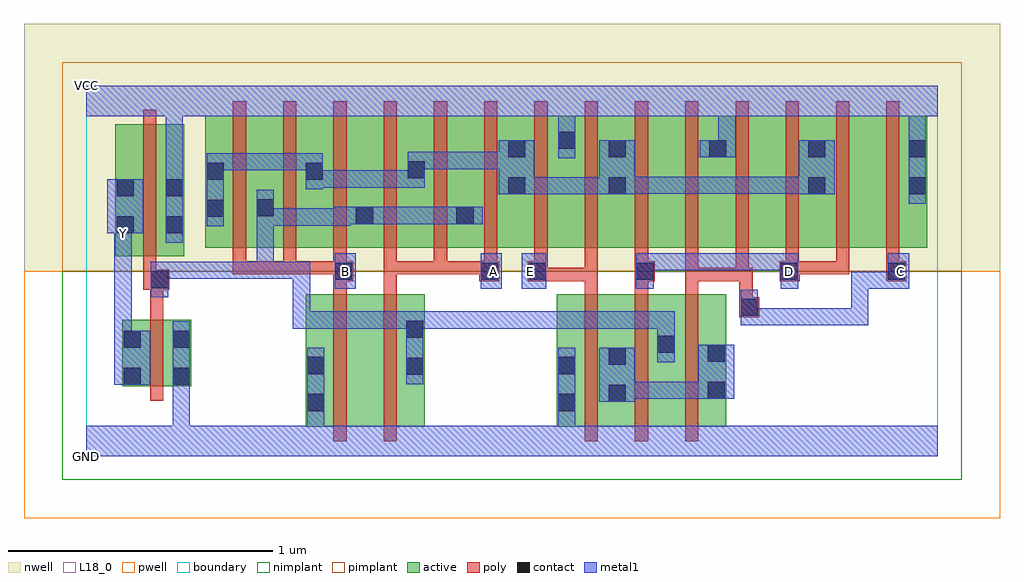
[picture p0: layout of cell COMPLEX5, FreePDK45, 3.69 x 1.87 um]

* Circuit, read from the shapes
.subckt COMPLEX5 A B C D E GND VCC Y
M1 GND n1 Y VSUBS nfet w=0.25u l=0.05u
M2 n2 B GND VSUBS nfet w=0.5u l=0.05u
M3 n1 A n2 VSUBS nfet w=0.5u l=0.05u
M4 n3 E GND VSUBS nfet w=0.5u l=0.05u
M5 n1 D n3 VSUBS nfet w=0.5u l=0.05u
M6 n3 C n1 VSUBS nfet w=0.5u l=0.05u
M7 VCC n1 Y n4 pfet w=0.5u l=0.05u
M8 n1 B n5 n4 pfet w=0.5u l=0.05u m=3
M9 n5 A n1 n4 pfet w=0.5u l=0.05u m=3
M10 VCC E n5 n4 pfet w=0.5u l=0.05u m=2
M11 n6 D n5 n4 pfet w=0.5u l=0.05u
M12 VCC C n6 n4 pfet w=0.5u l=0.05u
M13 n7 C VCC n4 pfet w=0.5u l=0.05u
M14 n5 D n7 n4 pfet w=0.5u l=0.05u
M15 n8 D n5 n4 pfet w=0.5u l=0.05u
M16 VCC C n8 n4 pfet w=0.5u l=0.05u
.ends

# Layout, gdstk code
import gdstk
lib = gdstk.Library(unit=1e-6, precision=1e-09)
def R(c, l, rs):  # rectangles x0, y0, x1, y1
    for r in rs: c.add(gdstk.rectangle(r[:2], r[2:], *l))
def A(c, l, x, y, w, h, nx, ny, dx, dy):  # array of equal rectangles
    R(c, l, [(x+i*dx, y+j*dy, x+i*dx+w, y+j*dy+h) for i in range(nx) for j in range(ny)])
active = (1, 0)
pwell = (2, 0)
nwell = (3, 0)
nimplant = (4, 0)
pimplant = (5, 0)
poly = (9, 0)
contact = (10, 0)
metal1 = (11, 0)
L18_0 = (18, 0)
boundary = (235, 0)

complex5 = lib.new_cell('COMPLEX5')
A(complex5, active, 1.21, 0.807, 0.075, 0.393, 3, 1, 0.38, 0)
R(complex5, active, [(0.83,0.112,1.055,0.612), (1.055,0.112,1.28,0.612), (1.78,0.112,2.045,0.612), (1.97,0.112,2.23,0.612), (2.155,0.112,2.42,0.612), (0.83,0.132,0.905,0.592), (1.205,0.145,1.28,0.612), (1.78,0.145,1.855,0.612), (1.97,0.145,2.045,0.592), (2.155,0.145,2.23,0.592), (2.345,0.145,2.42,0.612), (0.137,0.265,0.212,0.515), (0.137,0.265,0.397,0.515), (0.322,0.265,0.397,0.515), (0.11,0.755,0.37,1.255), (0.11,0.755,0.185,1.2), (0.295,0.755,0.37,1.255), (0.45,0.787,0.715,1.287), (0.45,0.787,0.525,1.2), (0.64,0.787,0.9,1.287), (0.825,0.787,1.09,1.287), (1.015,0.787,1.285,1.287), (1.21,0.787,1.47,1.287), (1.395,0.787,1.665,1.287), (1.59,0.787,1.855,1.287), (1.78,0.787,2.045,1.287), (1.97,0.787,2.195,1.287), (2.195,0.787,2.425,1.287), (2.35,0.787,2.575,1.287), (2.575,0.787,2.8,1.287), (2.725,0.787,2.955,1.287), (2.955,0.787,3.18,1.287), (3.105,0.787,3.18,1.255), (0.64,0.807,0.715,1.07), (0.825,0.807,0.9,1.2), (1.015,0.807,1.09,1.07), (1.395,0.807,1.47,1.07), (1.78,0.807,1.855,1.255), (2.35,0.807,2.425,1.255), (2.725,0.807,2.8,1.2)])
R(complex5, pwell, [(-0.235,-0.235,3.455,0.7)])
R(complex5, nwell, [(-0.235,0.7,3.455,1.635)])
R(complex5, nimplant, [(-0.09,-0.09,3.31,0.7)])
R(complex5, pimplant, [(-0.09,0.7,3.31,1.49)])
A(complex5, poly, 1.885, 0.057, 0.05, 0.61, 3, 1, 0.19, 0)
A(complex5, poly, 1.885, 0.617, 0.05, 0.095, 3, 1, 0.19, 0)
A(complex5, poly, 0.555, 0.687, 0.05, 0.095, 7, 1, 0.19, 0)
A(complex5, poly, 2.645, 0.687, 0.05, 0.095, 3, 1, 0.19, 0)
A(complex5, poly, 0.555, 0.732, 0.05, 0.61, 14, 1, 0.19, 0)
R(complex5, poly, [(0.935,0.057,0.985,0.667), (1.125,0.057,1.175,0.667), (0.242,0.21,0.292,0.57), (0.242,0.52,0.292,0.68), (2.47,0.525,2.545,0.6), (2.47,0.55,2.52,0.6), (2.47,0.55,2.52,0.6), (2.47,0.55,2.52,0.712), (0.935,0.617,0.985,0.712), (1.125,0.617,1.175,0.737), (0.215,0.63,0.315,0.705), (0.215,0.655,0.265,0.75), (0.935,0.662,1.01,0.737), (1.487,0.662,1.562,0.737), (1.67,0.662,1.745,0.737), (1.695,0.662,1.935,0.712), (1.885,0.662,1.935,0.712), (1.885,0.662,1.935,0.712), (1.885,0.662,1.935,0.712), (1.885,0.662,1.935,0.782), (2.075,0.662,2.15,0.737), (2.265,0.662,2.315,0.712), (2.265,0.662,2.315,0.782), (2.265,0.662,2.505,0.712), (2.455,0.662,2.505,0.712), (2.455,0.662,2.505,0.712), (2.455,0.662,2.505,0.782), (2.455,0.662,2.52,0.712), (2.622,0.662,2.697,0.737), (3.025,0.662,3.1,0.737), (0.555,0.687,0.605,0.737), (0.555,0.687,0.795,0.737), (0.745,0.687,0.795,0.737), (0.745,0.687,0.795,0.737), (0.745,0.687,0.795,0.737), (0.745,0.687,0.985,0.737), (0.935,0.687,0.985,0.737), (0.935,0.687,0.985,0.737), (1.125,0.687,1.175,0.737), (1.125,0.687,1.175,0.737), (1.125,0.687,1.175,0.737), (1.125,0.687,1.365,0.737), (1.315,0.687,1.365,0.737), (1.315,0.687,1.365,0.737), (1.315,0.687,1.365,0.737), (1.315,0.687,1.537,0.737), (2.075,0.687,2.125,0.782), (2.647,0.687,2.885,0.737), (2.835,0.687,2.885,0.737), (2.835,0.687,2.885,0.737), (2.835,0.687,2.885,0.737), (0.215,0.7,0.265,1.31)])
A(complex5, contact, 1.595, 1.13, 0.065, 0.065, 3, 1, 0.38, 0)
R(complex5, contact, [(0.835,0.17,0.9,0.235), (1.785,0.17,1.85,0.235), (1.975,0.205,2.04,0.27), (2.35,0.217,2.415,0.282), (0.142,0.27,0.207,0.335), (0.327,0.27,0.392,0.335), (1.21,0.307,1.275,0.372), (0.835,0.31,0.9,0.375), (1.785,0.31,1.85,0.375), (1.975,0.345,2.04,0.41), (2.35,0.357,2.415,0.422), (2.16,0.39,2.225,0.455), (0.142,0.41,0.207,0.475), (0.327,0.41,0.392,0.475), (1.21,0.447,1.275,0.512), (2.475,0.53,2.54,0.595), (0.245,0.635,0.31,0.7), (0.94,0.667,1.005,0.732), (1.492,0.667,1.557,0.732), (1.675,0.667,1.74,0.732), (2.08,0.667,2.145,0.732), (2.627,0.667,2.692,0.732), (3.03,0.667,3.095,0.732), (0.115,0.842,0.18,0.907), (0.3,0.842,0.365,0.907), (1.02,0.877,1.085,0.942), (1.4,0.877,1.465,0.942), (0.455,0.905,0.52,0.97), (0.645,0.907,0.71,0.972), (0.115,0.982,0.18,1.047), (0.3,0.982,0.365,1.047), (1.595,0.99,1.66,1.055), (1.975,0.99,2.04,1.055), (2.73,0.99,2.795,1.055), (3.11,0.99,3.175,1.055), (0.455,1.045,0.52,1.11), (0.83,1.045,0.895,1.11), (1.215,1.05,1.28,1.115), (2.73,1.13,2.795,1.195), (3.11,1.13,3.175,1.195), (1.785,1.162,1.85,1.227)])
R(complex5, metal1, [(0,0,3.22,0.115), (0.327,0.05,0.392,0.3), (0.835,0.05,0.9,0.115), (0.835,0.05,0.9,0.115), (0.835,0.05,0.9,0.2), (1.785,0.05,1.85,0.2), (0.835,0.135,0.9,0.41), (1.785,0.135,1.85,0.41), (1.785,0.135,1.85,0.2), (1.785,0.135,1.85,0.2), (1.94,0.205,2.075,0.41), (2.01,0.217,2.212,0.282), (2.147,0.217,2.212,0.282), (2.147,0.217,2.212,0.282), (2.147,0.217,2.212,0.282), (2.147,0.217,2.38,0.282), (2.315,0.217,2.38,0.282), (2.315,0.217,2.38,0.282), (2.315,0.217,2.45,0.422), (0.327,0.235,0.392,0.51), (0.327,0.235,0.392,0.3), (0.327,0.235,0.392,0.3), (0.327,0.235,0.392,0.3), (0.327,0.235,0.392,0.3), (0.327,0.235,0.392,0.3), (0.327,0.235,0.392,0.3), (0.107,0.27,0.242,0.475), (1.21,0.272,1.275,0.547), (2.16,0.355,2.225,0.49), (0.107,0.41,0.172,0.837), (2.16,0.425,2.225,0.49), (2.16,0.425,2.225,0.547), (0.782,0.482,0.847,0.547), (0.782,0.482,0.847,0.547), (0.782,0.482,0.847,0.547), (0.782,0.482,1.137,0.547), (0.782,0.482,0.847,0.735), (1.072,0.482,1.275,0.547), (1.072,0.482,1.137,0.547), (1.072,0.482,1.137,0.547), (1.072,0.482,1.137,0.547), (1.21,0.482,1.275,0.547), (1.21,0.482,1.275,0.547), (1.21,0.482,1.487,0.547), (1.422,0.482,1.487,0.547), (1.422,0.482,1.487,0.547), (1.422,0.482,1.487,0.547), (1.422,0.482,1.712,0.547), (1.647,0.482,1.712,0.547), (1.647,0.482,1.712,0.547), (1.647,0.482,1.712,0.547), (1.647,0.482,1.867,0.547), (1.802,0.482,1.867,0.547), (1.802,0.482,1.867,0.547), (1.802,0.482,1.867,0.547), (1.802,0.482,2.075,0.547), (2.01,0.482,2.075,0.547), (2.01,0.482,2.225,0.547), (2.475,0.495,2.54,0.56), (2.475,0.495,2.54,0.56), (2.475,0.495,2.54,0.56), (2.475,0.495,2.54,0.56), (2.475,0.495,2.54,0.63), (2.475,0.495,2.677,0.56), (2.612,0.495,2.677,0.56), (2.612,0.495,2.677,0.56), (2.612,0.495,2.677,0.56), (2.612,0.495,2.957,0.56), (2.892,0.495,2.957,0.697), (2.892,0.495,2.957,0.56), (2.892,0.495,2.957,0.56), (2.892,0.495,2.957,0.56), (0.245,0.6,0.31,0.735), (0.94,0.632,1.02,0.767), (1.492,0.632,1.572,0.767), (1.647,0.632,1.74,0.767), (2.08,0.632,2.145,0.767), (2.627,0.632,2.692,0.767), (2.892,0.632,3.095,0.697), (2.892,0.632,2.957,0.697), (3.03,0.632,3.112,0.767), (0.245,0.67,0.31,0.735), (0.245,0.67,0.31,0.735), (0.245,0.67,0.53,0.735), (0.465,0.67,0.53,0.735), (0.465,0.67,0.53,0.735), (0.465,0.67,0.53,0.735), (0.465,0.67,0.71,0.735), (0.645,0.67,0.71,0.735), (0.645,0.67,0.71,0.735), (0.645,0.67,0.71,0.735), (0.645,0.67,0.847,0.735), (0.645,0.67,0.71,0.937), (0.782,0.67,0.847,0.735), (2.08,0.702,2.242,0.767), (2.177,0.702,2.38,0.767), (2.177,0.702,2.242,0.767), (2.315,0.702,2.38,0.767), (2.315,0.702,2.38,0.767), (2.315,0.702,2.38,0.767), (2.315,0.702,2.517,0.767), (2.452,0.702,2.517,0.767), (2.452,0.702,2.517,0.767), (2.452,0.702,2.517,0.767), (2.452,0.702,2.692,0.767), (0.107,0.772,0.172,0.907), (0.3,0.807,0.365,1.082), (0.08,0.842,0.215,1.047), (0.107,0.842,0.172,0.907), (0.455,0.87,0.52,1.145), (0.645,0.872,0.71,0.937), (0.645,0.872,0.71,0.937), (0.645,0.872,0.71,1.007), (0.645,0.872,0.867,0.937), (0.802,0.872,0.867,0.937), (0.802,0.872,1,0.937), (0.935,0.872,1,0.942), (0.935,0.877,1.05,0.942), (0.985,0.877,1.12,0.942), (1.055,0.877,1.137,0.942), (1.072,0.877,1.275,0.942), (1.072,0.877,1.137,0.942), (1.21,0.877,1.275,0.942), (1.21,0.877,1.275,0.942), (1.21,0.877,1.275,0.942), (1.21,0.877,1.43,0.942), (1.365,0.877,1.5,0.942), (3.11,0.955,3.175,1.23), (1.56,0.99,1.695,1.195), (1.63,0.99,1.695,1.055), (1.63,0.99,1.695,1.055), (1.63,0.99,1.695,1.055), (1.63,0.99,1.695,1.055), (1.63,0.99,1.867,1.055), (1.802,0.99,2.005,1.055), (1.802,0.99,1.867,1.055), (1.802,0.99,1.867,1.055), (1.802,0.99,1.867,1.055), (1.94,0.99,2.075,1.195), (2.695,0.99,2.83,1.195), (2.01,0.992,2.075,1.057), (2.01,0.992,2.075,1.057), (2.01,0.992,2.242,1.057), (2.177,0.992,2.38,1.057), (2.177,0.992,2.242,1.057), (2.315,0.992,2.38,1.057), (2.315,0.992,2.38,1.057), (2.315,0.992,2.38,1.057), (2.315,0.992,2.517,1.057), (2.452,0.992,2.517,1.057), (2.452,0.992,2.517,1.057), (2.452,0.992,2.517,1.057), (2.452,0.992,2.76,1.057), (2.695,0.992,2.76,1.057), (2.695,0.992,2.76,1.057), (0.83,1.01,0.895,1.145), (0.83,1.015,0.895,1.08), (0.83,1.015,0.895,1.08), (0.83,1.015,1.137,1.08), (1.072,1.015,1.137,1.08), (1.072,1.015,1.137,1.08), (1.072,1.015,1.137,1.08), (1.072,1.015,1.28,1.08), (1.215,1.015,1.28,1.15), (0.3,1.017,0.365,1.35), (0.455,1.08,0.52,1.145), (0.455,1.08,0.52,1.145), (0.455,1.08,0.667,1.145), (0.602,1.08,0.667,1.145), (0.602,1.08,0.667,1.145), (0.602,1.08,0.667,1.145), (0.602,1.08,0.895,1.145), (1.215,1.085,1.28,1.15), (1.215,1.085,1.28,1.15), (1.215,1.085,1.487,1.15), (1.422,1.085,1.625,1.15), (1.422,1.085,1.487,1.15), (1.422,1.085,1.487,1.15), (1.422,1.085,1.487,1.15), (1.785,1.127,1.85,1.262), (2.32,1.13,2.455,1.195), (2.39,1.13,2.455,1.35), (3.11,1.165,3.175,1.35), (1.785,1.197,1.85,1.35), (0,1.285,3.22,1.4)])
R(complex5, L18_0, [(0,0,3.22,0.115), (0.327,0.05,0.392,0.3), (0.835,0.05,0.9,0.115), (0.835,0.05,0.9,0.115), (0.835,0.05,0.9,0.2), (1.785,0.05,1.85,0.2), (0.835,0.135,0.9,0.41), (1.785,0.135,1.85,0.2), (1.785,0.135,1.85,0.2), (1.785,0.135,1.85,0.41), (0.327,0.235,0.392,0.3), (0.327,0.235,0.392,0.3), (0.327,0.235,0.392,0.3), (0.327,0.235,0.392,0.3), (0.327,0.235,0.392,0.3), (0.327,0.235,0.392,0.3), (0.327,0.235,0.392,0.51), (0.107,0.27,0.242,0.475), (0.107,0.41,0.172,0.837), (2.475,0.495,2.54,0.63), (2.475,0.495,2.54,0.56), (2.475,0.495,2.54,0.56), (2.475,0.495,2.54,0.56), (2.475,0.495,2.54,0.56), (2.475,0.495,2.677,0.56), (2.612,0.495,2.677,0.56), (2.612,0.495,2.677,0.56), (2.612,0.495,2.677,0.56), (2.612,0.495,2.957,0.56), (2.892,0.495,2.957,0.56), (2.892,0.495,2.957,0.56), (2.892,0.495,2.957,0.56), (2.892,0.495,2.957,0.697), (0.94,0.632,1.02,0.767), (1.492,0.632,1.572,0.767), (1.647,0.632,1.74,0.767), (2.08,0.632,2.145,0.767), (2.627,0.632,2.692,0.767), (2.892,0.632,2.957,0.697), (2.892,0.632,3.095,0.697), (3.03,0.632,3.112,0.767), (0.947,0.667,1.012,0.732), (1.507,0.667,1.572,0.732), (1.647,0.667,1.712,0.732), (2.627,0.667,2.692,0.732), (3.047,0.667,3.112,0.732), (2.08,0.702,2.242,0.767), (2.177,0.702,2.242,0.767), (2.177,0.702,2.38,0.767), (2.315,0.702,2.38,0.767), (2.315,0.702,2.38,0.767), (2.315,0.702,2.38,0.767), (2.315,0.702,2.517,0.767), (2.452,0.702,2.517,0.767), (2.452,0.702,2.517,0.767), (2.452,0.702,2.517,0.767), (2.452,0.702,2.692,0.767), (0.107,0.772,0.172,0.907), (0.107,0.807,0.172,0.872), (0.3,0.807,0.365,1.082), (0.08,0.842,0.215,1.047), (0.107,0.842,0.172,0.907), (3.11,0.955,3.175,1.23), (0.3,1.017,0.365,1.35), (1.785,1.127,1.85,1.262), (2.32,1.13,2.455,1.195), (2.39,1.13,2.455,1.35), (3.11,1.165,3.175,1.35), (1.785,1.197,1.85,1.35), (0,1.285,3.22,1.4)])
R(complex5, boundary, [(0,0,3.22,1.4)])
complex5.add(gdstk.Label('A', (1.54,0.7), layer=11, texttype=0))
complex5.add(gdstk.Label('B', (0.98,0.7), layer=11, texttype=0))
complex5.add(gdstk.Label('C', (3.08,0.7), layer=11, texttype=0))
complex5.add(gdstk.Label('D', (2.66,0.7), layer=11, texttype=0))
complex5.add(gdstk.Label('E', (1.68,0.7), layer=11, texttype=0))
complex5.add(gdstk.Label('Y', (0.14,0.84), layer=11, texttype=0))
complex5.add(gdstk.Label('VCC', (0,1.4), layer=11, texttype=0))
complex5.add(gdstk.Label('GND', (0,0), layer=11, texttype=0))

lib.write_gds('COMPLEX5.gds')
